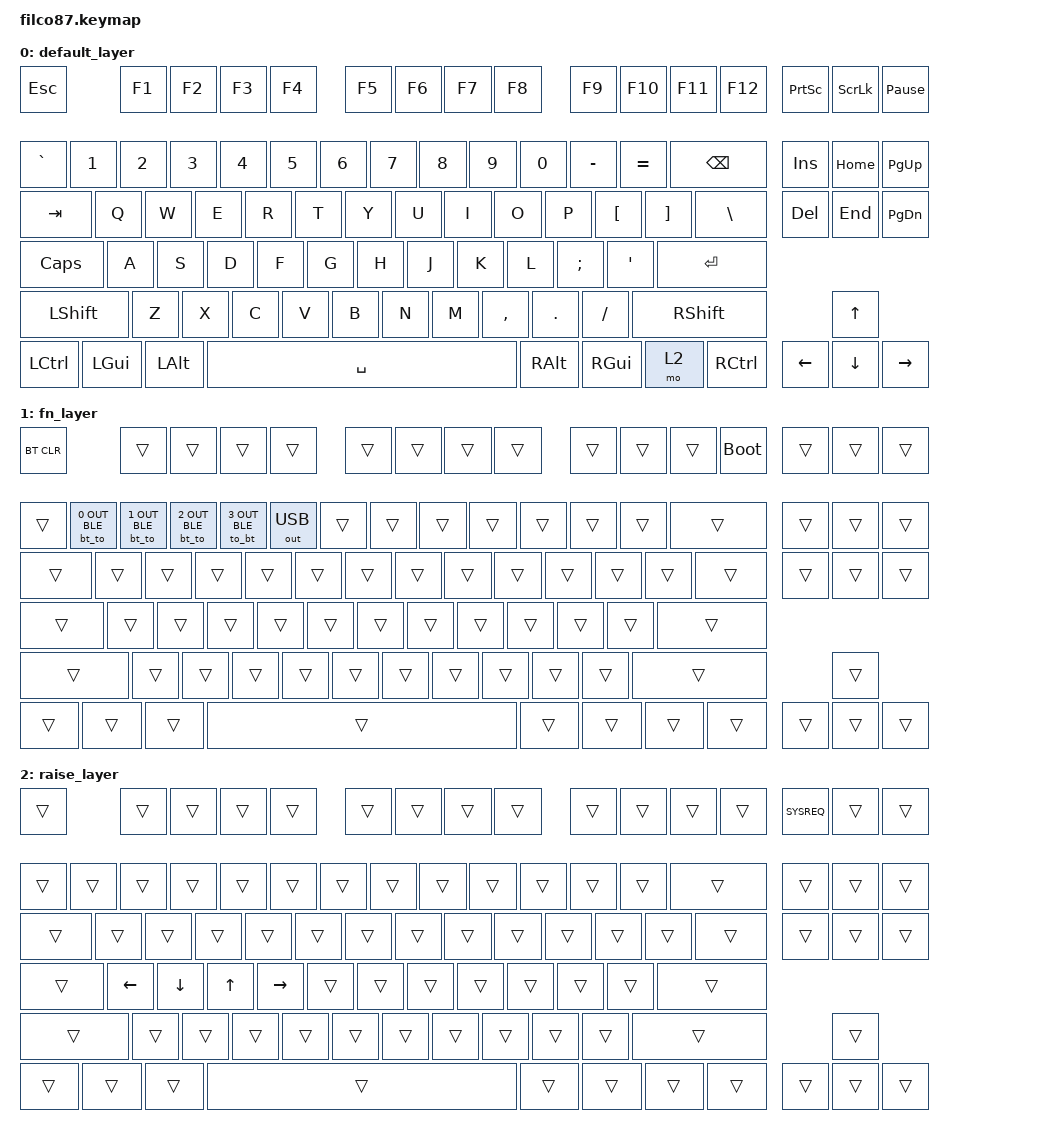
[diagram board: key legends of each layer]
// This file was generated from a template. Edit it to match your keyboard.
// See https://zmk.dev/docs/development/hardware-integration/new-shield for more instructions.

#include <behaviors.dtsi>
#include <dt-bindings/zmk/keys.h>
#include <dt-bindings/zmk/bt.h>
#include <dt-bindings/zmk/outputs.h>

&sl {
    release-after-ms = <5000>;
};

/ {
    combos {
        compatible = "zmk,combos";
        combo_ctrl {
            slow-release;
            timeout-ms = <1000>;
            require-prior-idle-ms = <500>;
            key-positions = <76 78 82>;
            bindings = <&sl 1>;
        };
    };
};

/ {
    macros {
        bt_to: bt_to {
            label = "bt_to";
            compatible = "zmk,behavior-macro-two-param";
            #binding-cells = <2>;
            bindings
                = <&macro_param_1to2>
                , <&bt BT_SEL MACRO_PLACEHOLDER>
                , <&macro_param_2to1>
                , <&out MACRO_PLACEHOLDER>;
        };
    };
};

/ {
    // Define a default keymap here.
    // See https://zmk.dev/docs/development/hardware-integration/new-shield#default-keymap.
    keymap {
        compatible = "zmk,keymap";

        default_layer {
            display-name = "default_layer";
            // -----------------------------------------------------------------------------------------------------------------
            // | ESC   | F1  | F2  | F3  |  F4     | F5  | F6  | F7  | F8      | F9  | F10 | F11 | F12  | Ps/SR | ScLk | Pa/Br |
            // | GRAVE |  1  |  2  |  3  |  4  |  5  |  6  |  7  |  8  |  9  |  0  |  -  |  =  |   BSPC |  Ins  | Home | Pg Up |
            // | TAB  |  Q  |  W  |  E  |  R  |  T  |  Y  |  U  |  I  |  O  |  P  |  [  |  ]  |    \    |  Del  | End  | Pg Dn |
            // | CAPS  |  A  |  S  |  D  |  F  |  G  |  H  |  J  |  K  |  L  |  ;  |  '  |     ENTER    |                      |
            // |  SHIFT  |  Z  |  X  |  C  |  V  |  B  |  N  |  M  |  ,  |  .  |  /  |      SHIFT       |          Up          |
            // |  CTL  |  WIN  |  ALT  |            SPACE               | ALT | MO(1) |  WIN  | CTRL    |  Left | Down | Right |
            // -----------------------------------------------------------------------------------------------------------------
            bindings = <
            &kp ESC          &kp F1 &kp F2 &kp F3 &kp F4     &kp F5 &kp F6 &kp F7 &kp F8       &kp F9 &kp F10 &kp F11 &kp F12  &kp PSCRN &kp SLCK &kp PAUSE_BREAK
            &kp GRAVE &kp N1 &kp N2 &kp N3 &kp N4 &kp N5 &kp N6 &kp N7 &kp   N8  &kp  N9 &kp  N0  &kp MINUS &kp EQUAL &kp BSPC &kp  INS  &kp HOME &kp PG_UP
            &kp TAB  &kp Q  &kp W  &kp E  &kp R  &kp T  &kp Y  &kp U  &kp   I   &kp  O  &kp   P  &kp LBKT &kp RBKT  &kp BSLH   &kp  DEL  &kp END  &kp PG_DN
            &kp CLCK  &kp A  &kp S  &kp D  &kp F  &kp G  &kp H  &kp J  &kp   K   &kp  L  &kp SEMI &kp SQT           &kp RET
            &kp LSHFT  &kp Z  &kp X  &kp C  &kp V  &kp B  &kp N  &kp M  &kp COMMA &kp DOT &kp FSLH           &kp RSHFT                  &kp UP
            &kp LCTRL &kp LGUI &kp LALT               &kp SPACE                 &kp  RALT  &kp  RGUI &mo 2  &kp  RCTRL         &kp LEFT  &kp DOWN &kp RIGHT
            >;
        };

        ctrl_layer {
            display-name = "fn_layer";
            bindings = <
            &bt BT_CLR &trans &trans &trans &trans &trans &trans &trans &trans &trans &trans &trans &bootloader &trans &trans &trans 
            &trans &bt_to 0 OUT_BLE &bt_to 1 OUT_BLE &bt_to 2 OUT_BLE &to_bt 3 OUT_BLE &out OUT_USB &trans &trans &trans &trans &trans &trans &trans &trans &trans &trans &trans 
            &trans &trans &trans &trans &trans &trans &trans &trans &trans &trans &trans &trans &trans &trans &trans &trans &trans 
            &trans &trans &trans &trans &trans &trans &trans &trans &trans &trans &trans &trans &trans 
            &trans &trans &trans &trans &trans &trans &trans &trans &trans &trans &trans &trans &trans 
            &trans &trans &trans &trans &trans &trans &trans &trans &trans &trans &trans 
            >;
        };

        raise_layer {
            display-name = "raise_layer";
            bindings = <
            &trans &trans &trans &trans &trans &trans &trans &trans &trans &trans &trans &trans &trans &kp SYSREQ &trans &trans 
            &trans &trans &trans &trans &trans &trans &trans &trans &trans &trans &trans &trans &trans &trans &trans &trans &trans 
            &trans &trans &trans &trans &trans &trans &trans &trans &trans &trans &trans &trans &trans &trans &trans &trans &trans 
            &trans &kp LEFT &kp DOWN &kp UP &kp RIGHT &trans &trans &trans &trans &trans &trans &trans &trans 
            &trans &trans &trans &trans &trans &trans &trans &trans &trans &trans &trans &trans &trans 
            &trans &trans &trans &trans &trans &trans &trans &trans &trans &trans &trans 
            >;
        };
    };
};
